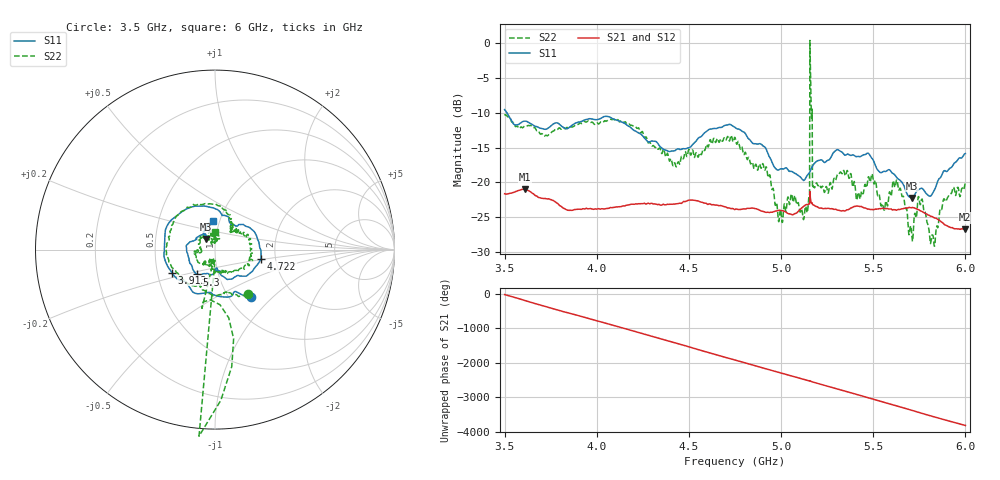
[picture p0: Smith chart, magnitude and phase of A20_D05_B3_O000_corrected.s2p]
! Created with skrf 1.9.0 (http://scikit-rf.org).
# Hz S RI R 50.0
!freq ReS11 ImS11 ReS21 ImS21 ReS12 ImS12 ReS22 ImS22
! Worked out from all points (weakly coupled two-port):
!   1601 points, 3.5 GHz to 6 GHz, reference 50 ohm
!   highest |S21| = -20.98 dB at 3.609 GHz (marker M1); lowest = -26.7 dB at 5.998 GHz (marker M2)
!   lowest |S11| = -22.2 dB at 5.709 GHz (marker M3), VSWR 1.17, Z = 44.9 + j5.3 ohm
!   |S11| at or under -10 dB: 3.512 GHz to end of sweep
!   |S22| runs from -29.2 to 0.4 dB; largest |S21 - S12| = 0.00092
!   S11 on the Smith chart (normalised r, x): 3.5 GHz: 1.26, -0.75; 3.913 GHz: 0.59, -0.16; 4.722 GHz: 1.68, -0.18; 5.3 GHz: 0.79, -0.23; 6 GHz: 0.93, +0.31
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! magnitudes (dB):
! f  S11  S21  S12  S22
! 3.5 GHz  -9.6  -21.6  -21.6  -10.2
! 3.609 GHz  -11.2  -21.0  -21.0  -11.9
! 3.913 GHz  -11.3  -23.9  -23.8  -11.5
! 3.917 GHz  -11.3  -23.9  -23.8  -11.6
! 4.334 GHz  -14.5  -23.2  -23.1  -15.2
! 4.425 GHz  -15.4  -23.1  -23.1  -17.3
! 4.722 GHz  -11.7  -23.7  -23.7  -13.9
! 4.75 GHz  -12.1  -23.9  -23.8  -13.6
! 4.912 GHz  -14.9  -24.3  -24.2  -18.2
! 4.997 GHz  -18.1  -24.0  -24.0  -23.9
! 5.133 GHz  -19.4  -23.2  -23.2  -23.4
! 5.167 GHz  -17.8  -22.9  -22.9  -10.5
! 5.183 GHz  -17.2  -23.4  -23.3  -20.7
! 5.3 GHz  -15.4  -23.9  -23.9  -19.3
! 5.584 GHz  -18.2  -23.8  -23.8  -22.0
! 5.636 GHz  -19.5  -23.9  -23.8  -20.8
! 5.709 GHz  -22.2  -23.6  -23.6  -27.7
! 5.755 GHz  -20.9  -24.0  -24.0  -23.2
! 5.823 GHz  -21.5  -24.9  -24.9  -27.6
! 5.888 GHz  -18.3  -26.1  -26.0  -22.5
! 5.998 GHz  -15.9  -26.7  -26.7  -20.1
! 6 GHz  -15.9  -26.7  -26.7  -20.0
